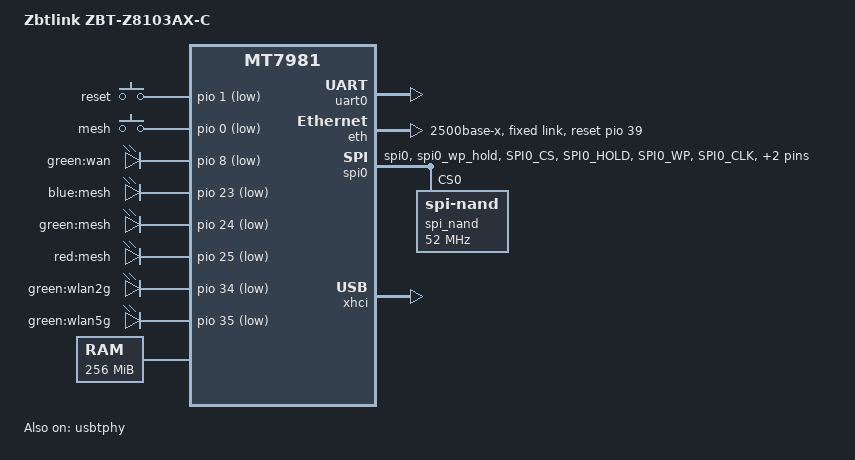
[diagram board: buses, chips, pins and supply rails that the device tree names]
// SPDX-License-Identifier: GPL-2.0-or-later OR MIT

/dts-v1/;
#include "mt7981.dtsi"
#include <dt-bindings/gpio/gpio.h>

/ {
	#address-cells = <1>;
	#size-cells = <1>;
	model = "Zbtlink ZBT-Z8103AX-C";
	compatible = "zbtlink,zbt-z8103ax-c", "mediatek,mt7981", "mediatek,mt7981-rfb";

	chosen {
		stdout-path = &uart0;
		tick-timer = &timer0;
	};

	config {
		bootcmd = "mtkboardboot";
		blink_led = "green:wan";
		system_led = "green:wan";
	};

	mtd-layout {
		layout@0 {
			label = "default";
			// mtd layout for stock ubi firmware, support immortalwrt/openwrt 114.5M ubi firmware
			mtdids = "nmbm0=nmbm0";
			mtdparts = "nmbm0:1024k(bl2),512k(u-boot-env),2048k(Factory),2048k(fip),117248k(ubi)";
		};

		layout@1 {
			label = "ubi-64m";
			// mtd layout for 64m ubi firmware
			mtdids = "nmbm0=nmbm0";
			mtdparts = "nmbm0:1024k(bl2),512k(u-boot-env),2048k(Factory),2048k(fip),65536k(ubi)";
		};
	};

	gpio-keys {
		compatible = "gpio-keys";

		button-reset {
			label = "reset";
			linux,code = <KEY_RESTART>;
			gpios = <&pio 1 GPIO_ACTIVE_LOW>;
		};

		button-mesh {
			label = "mesh";
			linux,code = <BTN_0>;
			linux,input-type = <EV_SW>;
			gpios = <&pio 0 GPIO_ACTIVE_LOW>;
		};
	};

	leds {
		compatible = "gpio-leds";

		wan {
			label = "green:wan";
			gpios = <&pio 8 GPIO_ACTIVE_LOW>;
		};

		led_status_blue: mesh-blue {
			label = "blue:mesh";
			gpios = <&pio 23 GPIO_ACTIVE_LOW>;
		};

		led_status_green: mesh-green {
			label = "green:mesh";
			gpios = <&pio 24 GPIO_ACTIVE_LOW>;
		};

		led_status_red: mesh-red {
			label = "red:mesh";
			gpios = <&pio 25 GPIO_ACTIVE_LOW>;
		};

		led-wlan2g {
			label = "green:wlan2g";
			gpios = <&pio 34 GPIO_ACTIVE_LOW>;
		};

		led-wlan5g {
			label = "green:wlan5g";
			gpios = <&pio 35 GPIO_ACTIVE_LOW>;
		};
	};


	memory@40000000 {
		device_type = "memory";
		reg = <0x40000000 0x10000000>;
	};

	bl2_verify {
		bl2_compatible = "spim-nand";
	};
};

&uart0 {
	status = "okay";
};

&eth {
	status = "okay";
	mediatek,gmac-id = <0>;
	phy-mode = "2500base-x";
	mediatek,switch = "auto";
	reset-gpios = <&pio 39 GPIO_ACTIVE_HIGH>;

	fixed-link {
		speed = <2500>;
		full-duplex;
	};
};

&pio {
	spi_flash_pins: spi0-pins-func-1 {
		mux {
			function = "flash";
			groups = "spi0", "spi0_wp_hold";
		};

		conf-pu {
			pins = "SPI0_CS", "SPI0_HOLD", "SPI0_WP";
			drive-strength = <MTK_DRIVE_4mA>;
			bias-pull-up = <MTK_PUPD_SET_R1R0_11>;
		};

		conf-pd {
			pins = "SPI0_CLK", "SPI0_MOSI", "SPI0_MISO";
			drive-strength = <MTK_DRIVE_4mA>;
			bias-pull-down = <MTK_PUPD_SET_R1R0_11>;
		};
	};
};

&spi0 {
	#address-cells = <1>;
	#size-cells = <0>;
	pinctrl-names = "default";
	pinctrl-0 = <&spi_flash_pins>;
	status = "okay";
	must_tx;
	enhance_timing;
	dma_ext;
	ipm_design;
	support_quad;
	tick_dly = <2>;
	sample_sel = <0>;

	spi_nand@0 {
		compatible = "spi-nand";
		reg = <0>;
		spi-max-frequency = <52000000>;
	};
};

&watchdog {
	status = "disabled";
};

&usbtphy {
  status = "okay";
};

&xhci {
  status = "okay";
};
